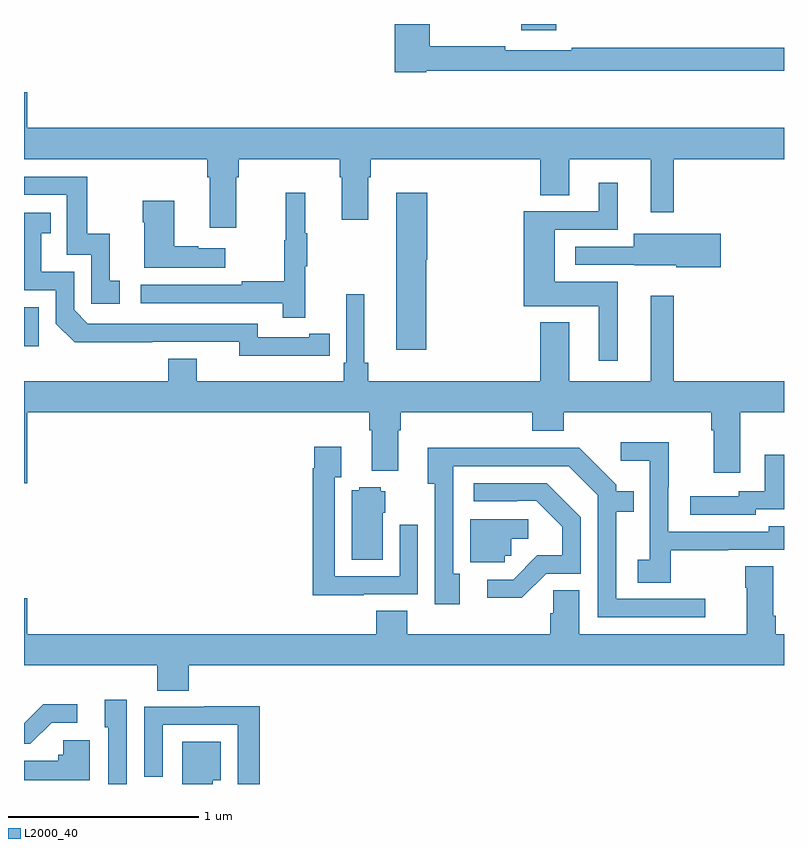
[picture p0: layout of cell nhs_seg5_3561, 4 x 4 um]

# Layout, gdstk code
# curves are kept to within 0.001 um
import gdstk
lib = gdstk.Library(unit=1e-6, precision=1e-09)
def R(c, l, rs):  # rectangles x0, y0, x1, y1
    for r in rs: c.add(gdstk.rectangle(r[:2], r[2:], *l))
def P(c, l, *ps):  # polygons
    for p in ps: c.add(gdstk.Polygon(p, *l))
L2000_40 = (2000, 40)

nhs_seg5_3561 = lib.new_cell('nhs_seg5_3561')
R(nhs_seg5_3561, L2000_40, [(321,861.102,321.078,861.309), (323.618,862.767,323.801,862.799)])
P(nhs_seg5_3561, L2000_40, [(323.118,862.554),(325,862.554),(325,862.675),(323.884,862.675),(323.884,862.662),(323.534,862.662),(323.534,862.682),(323.135,862.682),(323.135,862.799),(322.952,862.799),(322.952,862.546),(323.118,862.546)],
  [(322.117,861.992),(322.13,861.992),(322.13,862.088),(322.661,862.088),(322.661,861.992),(322.673,861.992),(322.673,861.768),(322.813,861.768),(322.813,861.992),(322.826,861.992),(322.826,862.088),(323.717,862.088),(323.717,861.898),(323.869,861.898),(323.869,862.088),(324.299,862.088),(324.299,861.807),(324.421,861.807),(324.421,862.088),(325,862.088),(325,862.252),(321.016,862.252),(321.016,862.441),(321,862.441),(321,862.088),(321.965,862.088),(321.965,861.992),(321.977,861.992),(321.977,861.726),(322.117,861.726)],
  [(321.505,861.447),(321.452,861.447),(321.452,861.694),(321.334,861.694),(321.334,861.996),(321,861.996),(321,861.9),(321.225,861.9),(321.225,861.585),(321.354,861.585),(321.354,861.327),(321.505,861.327)],
  [(324.124,861.442),(323.794,861.442),(323.794,861.717),(324.124,861.717),(324.124,861.964),(324.026,861.964),(324.026,861.813),(323.63,861.813),(323.63,861.314),(324.026,861.314),(324.026,861.027),(324.124,861.027)],
  [(323.117,861.558),(323.122,861.558),(323.122,861.91),(322.958,861.91),(322.958,861.084),(323.117,861.084)],
  [(322.481,861.523),(322.492,861.523),(322.492,861.697),(322.481,861.697),(322.481,861.91),(322.378,861.91),(322.378,861.66),(322.371,861.66),(322.371,861.446),(322.147,861.446),(322.147,861.426),(321.615,861.426),(321.615,861.33),(322.363,861.33),(322.363,861.252),(322.481,861.252)],
  [(322.06,861.619),(321.917,861.619),(321.917,861.629),(321.79,861.629),(321.79,861.868),(321.625,861.868),(321.625,861.755),(321.632,861.755),(321.632,861.515),(322.06,861.515)],
  [(322.502,861.054),(322.61,861.054),(322.61,861.17),(322.502,861.17),(322.502,861.15),(322.23,861.15),(322.23,861.222),(321.336,861.222),(321.264,861.294),(321.264,861.495),(321.091,861.495),(321.091,861.699),(321.14,861.699),(321.14,861.805),(321,861.805),(321,861.399),(321.168,861.399),(321.168,861.222),(321.266,861.125),(322.134,861.126),(322.134,861.053)],
  [(324.667,861.696),(324.209,861.696),(324.209,861.627),(323.901,861.627),(323.901,861.531),(324.213,861.531),(324.213,861.53),(324.432,861.53),(324.432,861.518),(324.667,861.518)],
  [(322.811,861.016),(322.792,861.016),(322.792,861.376),(322.695,861.376),(322.695,861.016),(322.682,861.016),(322.682,860.92),(321.91,860.92),(321.91,861.037),(321.758,861.037),(321.758,860.92),(321,860.92),(321,860.382),(321.016,860.382),(321.016,860.756),(322.817,860.756),(322.817,860.66),(322.829,860.66),(322.829,860.447),(322.969,860.447),(322.969,860.66),(322.982,860.66),(322.982,860.756),(323.675,860.756),(323.675,860.657),(323.84,860.657),(323.84,860.756),(324.617,860.756),(324.617,860.66),(324.629,860.66),(324.629,860.436),(324.769,860.436),(324.769,860.756),(325,860.756),(325,860.92),(324.421,860.92),(324.421,861.37),(324.299,861.37),(324.299,860.92),(323.869,860.92),(323.869,861.229),(323.717,861.229),(323.717,860.92),(322.811,860.92)],
  [(324.403,860.029),(324.707,860.029),(324.707,860.031),(325,860.031),(325,860.155),(324.921,860.155),(324.921,860.127),(324.39,860.127),(324.39,860.36),(324.393,860.36),(324.393,860.599),(324.141,860.599),(324.141,860.501),(324.294,860.501),(324.294,859.98),(324.231,859.98),(324.231,859.858),(324.403,859.858)],
  [(322.789,859.797),(323.073,859.797),(323.073,860.164),(322.977,860.164),(322.977,859.893),(322.635,859.893),(322.635,860.414),(322.669,860.414),(322.669,860.575),(322.527,860.575),(322.527,860.462),(322.519,860.462),(322.519,859.793),(322.789,859.793)],
  [(324.586,859.773),(324.118,859.773),(324.118,860.232),(324.209,860.232),(324.209,860.341),(324.117,860.341),(324.117,860.373),(323.922,860.568),(323.591,860.568),(323.591,860.57),(323.126,860.57),(323.126,860.378),(323.163,860.378),(323.163,859.746),(323.293,859.746),(323.293,859.906),(323.259,859.906),(323.259,860.472),(323.868,860.472),(324.021,860.319),(324.021,859.677),(324.586,859.677)],
  [(324.852,860.244),(325,860.244),(325,860.533),(324.899,860.533),(324.899,860.34),(324.762,860.34),(324.762,860.313),(324.507,860.313),(324.507,860.217),(324.852,860.217)],
  [(323.748,859.905),(323.931,859.905),(323.931,860.203),(323.752,860.382),(323.367,860.382),(323.367,860.286),(323.597,860.286),(323.597,860.289),(323.697,860.289),(323.834,860.152),(323.834,860.002),(323.701,860.002),(323.574,859.875),(323.439,859.875),(323.439,859.778),(323.62,859.778)],
  [(322.888,860.226),(322.9,860.226),(322.9,860.34),(322.878,860.34),(322.878,860.362),(322.764,860.362),(322.764,860.344),(322.724,860.344),(322.724,859.978),(322.888,859.978)],
  [(323.529,860.001),(323.565,860.001),(323.565,860.09),(323.653,860.09),(323.653,860.193),(323.348,860.193),(323.348,859.965),(323.529,859.965)],
  [(321.866,859.424),(325,859.424),(325,859.588),(324.956,859.588),(324.956,859.684),(324.943,859.684),(324.943,859.945),(324.796,859.945),(324.796,859.832),(324.803,859.832),(324.803,859.588),(323.923,859.588),(323.923,859.82),(323.785,859.82),(323.785,859.698),(323.771,859.698),(323.771,859.588),(323.018,859.588),(323.018,859.712),(322.853,859.712),(322.853,859.588),(321.016,859.588),(321.016,859.777),(321,859.777),(321,859.424),(321.701,859.424),(321.701,859.291),(321.866,859.291)],
  [(321.54,859.243),(321.425,859.243),(321.425,859.098),(321.444,859.098),(321.444,858.799),(321.54,858.799)],
  [(321.145,859.122),(321.28,859.122),(321.28,859.22),(321.101,859.22),(321,859.119),(321,859.011),(321.034,859.011)],
  [(322.241,859.208),(321.949,859.208),(321.949,859.206),(321.633,859.206),(321.633,858.837),(321.729,858.837),(321.729,859.11),(322.125,859.11),(322.125,858.799),(322.241,858.799)],
  [(321.346,859.03),(321.207,859.03),(321.207,858.954),(321.181,858.954),(321.181,858.922),(321,858.922),(321,858.818),(321.346,858.818)],
  [(321.994,858.818),(322.036,858.818),(322.036,859.021),(321.833,859.021),(321.833,858.799),(321.994,858.799)])

lib.write_gds('nhs_seg5_3561.gds')
